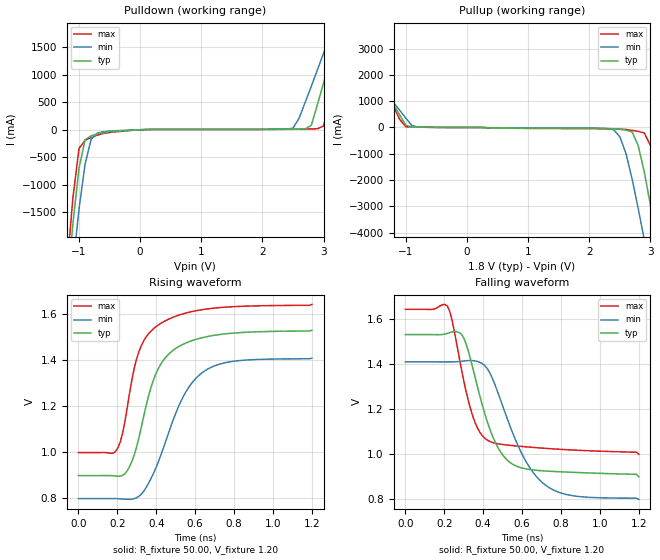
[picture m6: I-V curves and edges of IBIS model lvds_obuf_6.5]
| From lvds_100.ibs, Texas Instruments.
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|   Model lvds_obuf_6.5
[Model]   lvds_obuf_6.5
Model_type   Output
Polarity   Non-Inverting
Vmeas =   1.2000V
C_comp   4.00pF   4.00pF   4.00pF
[Temperature Range]   25.00   0.12k   -40.00
[Voltage Range]   1.80V   1.65V   1.95V
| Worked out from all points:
|   slope of the pulldown table from 0 to 0.27 V, typ, clamps not added: 45.9 ohm
|   slope of the pullup table from 0 to 0.27 V, typ, clamps not added: 45.7 ohm
|   rising waveform, R_fixture 50.00, V_fixture 1.20: 20-80 % time 141ps typ, 179ps min, 121ps max; typ from 0.899 V to 1.53 V
|   falling waveform, R_fixture 50.00, V_fixture 1.20: 20-80 % time 138ps typ, 185ps min, 106ps max; typ from 1.53 V to 0.899 V
[Pulldown]
| voltage   I(typ)   I(min)   I(max)
-1.8V     -11.24A    -11.51A    -11.61A
-1.2V     -2.95A     -3.66A     -2.55A
-1.1V     -1.71A     -2.5A      -1.24A
-1V       -700mA     -1.44A     -340mA
-900mV    -180mA     -620mA     -190mA
-700mV    -76.97mA   -60.03mA   -98.37mA
2.5V      12.01mA    27.68mA    9.79mA
2.8V      79.58mA    790mA      15.54mA
3V        850mA      1.39A      66.68mA
3.2V      1.64A      2A         1.04A
3.4V      2.44A      2.87A      2.05A
3.6V      3.25A      7.07A      3.06A
[Pullup]
| voltage   I(typ)   I(min)   I(max)
-1.8V     3.24A      3.32A      3.83A
-1.6V     2.43A      2.16A      2.81A
-1V       81.98mA    350mA      27.82mA
2.4V      -52.37mA   -86.22mA   -53.75mA
2.5V      -72.19mA   -360mA     -60.38mA
2.7V      -170mA     -1.96A     -110mA
2.9V      -1.7A      -4.28A     -210mA
3V        -2.95A     -5.52A     -690mA
3.1V      -4.28A     -6.78A     -1.86A
3.2V      -5.65A     -8.06A     -3.27A
3.3V      -7.04A     -9.35A     -4.75A
3.6V      -11.29A    -15.13A    -9.34A
[Ramp]
| variable   typ   min   max
dV/dt_r   0.67/0.16n   0.48/0.22n   0.80/0.12n
dV/dt_f   0.25/0.12n   0.23/0.17n   0.29/0.10n
R_load = 50.00
[Rising Waveform]
R_fixture = 50.00
V_fixture = 1.20
V_fixture_min = 1.10
V_fixture_max = 1.30
| time   V(typ)   V(min)   V(max)
0s        899mV      799.1mV    998.9mV
192ps     897mV      799.1mV    1.005V
228ps     900.4mV    797.4mV    1.087V
252ps     921.6mV    796.1mV    1.201V
312ps     1.067V     809.9mV    1.439V
372ps     1.279V     884.7mV    1.525V
420ps     1.378V     979.5mV    1.558V
540ps     1.469V     1.244V     1.601V
648ps     1.499V     1.352V     1.62V
1.2ns     1.529V     1.408V     1.641V
[Falling Waveform]
R_fixture = 50.00
V_fixture = 1.20
V_fixture_min = 1.10
V_fixture_max = 1.30
| time   V(typ)   V(min)   V(max)
0s        1.529V     1.408V     1.641V
216ps     1.535V     1.408V     1.656V
300ps     1.515V     1.412V     1.326V
360ps     1.335V     1.412V     1.136V
420ps     1.147V     1.38V      1.062V
528ps     969.7mV    1.147V     1.039V
612ps     935.3mV    979.7mV    1.032V
708ps     925.4mV    870.8mV    1.026V
852ps     919.1mV    816.5mV    1.018V
1.2ns     899mV      799.1mV    998.9mV
